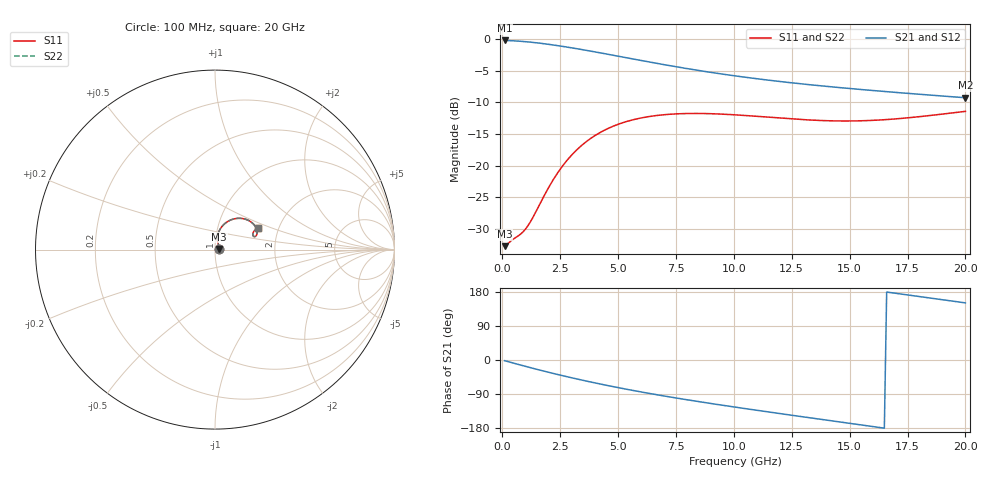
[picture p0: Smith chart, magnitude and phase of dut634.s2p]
! Touchstone file exported from HFSS 2024.1.0
!  File:  C:/UserFiles/LocalFiles/RDL_TSV_Batchsim/temp_RDL_TSV_634_1779804969.aedt
!  Generated:  10:35:06 PM May 26, 2026
!  Design:  RDL_TSV
!  Project:  temp_RDL_TSV_634_1779804969
!  Setup:  Setup1
!  Solution:  Sweep
! Variables:
!  dtsv = 7.07um
!  hbump = 3um
!  htsv = 96.78um
!  ldown = 684.98um
!  lrdl = 190.03um
!  p = 40
!  p1 = 40.7um
!  rhole = 10um
!  subl = 2815.06um
!  t = 450um
!  tdown = 2.42um
!  trdl = 3.16um
!  viad = 10um
!  wdown = 16.18um
!  wrdl = 25.35um
!  xbump = 18um
# GHz S MA R 50.000000
! Terminal data exported
! Port[1] = TM1_1_T1
! Port[2] = TM1_4_T1
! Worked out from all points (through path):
!   200 points, 100 MHz to 20 GHz, reference 50 ohm
!   highest |S21| = -0.20 dB at 100 MHz (marker M1); lowest = -9.3 dB at 20 GHz (marker M2)
!   group delay of S21, straight-line fit = 27.5 ps
!   lowest |S11| = -32.7 dB at 100 MHz (marker M3), VSWR 1.05, Z = 52.4 + j0.297 ohm
!   |S11| at or under -10 dB: start of sweep to end of sweep
!   |S22| runs from -32.7 to -11.4 dB; largest |S21 - S12| = 9.5e-15
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0.1  0.02318 7.0  0.9767 -1.7  0.9767 -1.7  0.02318 7.0
! Gamma 0 0 0 0
! Port Impedance 50 0 50 0
0.5  0.02654 27.5  0.9699 -8.6  0.9699 -8.6  0.02654 27.5
0.8  0.02897 41.2  0.9619 -13.5  0.9619 -13.5  0.02897 41.2
1  0.0316 51.0  0.9553 -16.8  0.9553 -16.8  0.0316 51.0
1.3  0.03846 64.1  0.9437 -21.6  0.9437 -21.6  0.03844 64.1
1.8  0.05765 76.3  0.9207 -29.4  0.9207 -29.4  0.05761 76.3
2.2  0.07764 78.9  0.8998 -35.5  0.8998 -35.5  0.07757 78.9
2.6  0.09951 78.0  0.8773 -41.3  0.8773 -41.3  0.09942 78.0
3  0.1218 75.3  0.8539 -47.0  0.8539 -47.0  0.1217 75.3
3.5  0.1486 70.6  0.8239 -53.8  0.8239 -53.8  0.1485 70.6
4.2  0.1821 63.2  0.7814 -63.0  0.7814 -63.0  0.182 63.3
4.9  0.2093 55.9  0.7398 -71.7  0.7398 -71.7  0.2092 55.9
5.8  0.2345 47.2  0.6891 -82.1  0.6891 -82.1  0.2345 47.2
6.8  0.2512 38.8  0.638 -93.0  0.638 -93.0  0.2511 38.8
8.4  0.2591 28.5  0.5689 -109.0  0.5689 -109.0  0.2591 28.5
10.1  0.2523 21.5  0.5115 -124.8  0.5115 -124.8  0.2524 21.5
11.7  0.2403 18.4  0.4696 -138.9  0.4696 -138.9  0.2405 18.4
13.4  0.2293 18.5  0.4345 -153.5  0.4345 -153.5  0.2295 18.4
15  0.2259 20.8  0.4076 -167.1  0.4076 -167.1  0.226 20.7
16.7  0.2324 23.9  0.3835 178.5  0.3835 178.5  0.2325 23.8
18.3  0.2475 26.0  0.3637 165.0  0.3637 165.0  0.2474 25.8
20  0.269 26.3  0.3447 150.7  0.3447 150.7  0.2689 26.2
